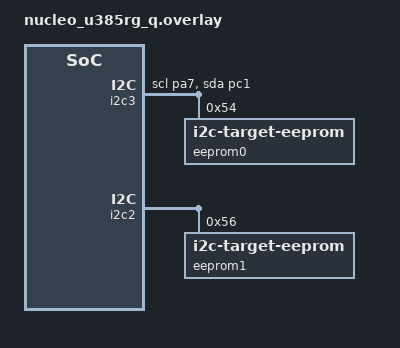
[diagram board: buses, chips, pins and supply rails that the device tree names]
/*
 * Copyright (c) 2025 STMicroelectronics
 * SPDX-License-Identifier: Apache-2.0
 */

/* I2C bus pins are exposed on the ST Arduino and Morpho header.
 *
 *  Bus        SDA                    SCL
 *          Pin   Hdr              Pin   Hdr
 *  i2c3    PC1   CN8:5            PA7   CN10:15
 *  i2c2    PB14  CN10:28          PB13  CN10:30
 *
 * Short Pin PB14 to PC1, and PB13 to PA7, for the test to pass.
 */

#define IC2_TEST_0_DMA_TX <&gpdma1 0 19 STM32_DMA_PERIPH_TX>
#define IC2_TEST_0_DMA_RX <&gpdma1 1 18 STM32_DMA_PERIPH_RX>

i2c_test_0: &i2c3 {
	pinctrl-0 = <&i2c3_scl_pa7 &i2c3_sda_pc1>;
	pinctrl-names = "default";
	scl-gpios = <&gpioa 7 GPIO_ACTIVE_HIGH>;
	sda-gpios = <&gpioc 1 GPIO_ACTIVE_HIGH>;
	dmas = IC2_TEST_0_DMA_TX, IC2_TEST_0_DMA_RX;
	dma-names = "tx", "rx";
	status = "okay";

	eeprom0: eeprom@54 {
		compatible = "zephyr,i2c-target-eeprom";
		reg = <0x54>;
		size = <256>;
	};
};

#define IC2_TEST_1_DMA_TX <&gpdma1 0 16 STM32_DMA_PERIPH_TX>
#define IC2_TEST_1_DMA_RX <&gpdma1 1 15 STM32_DMA_PERIPH_RX>

i2c_test_1: &i2c2 {
	dmas = IC2_TEST_1_DMA_TX, IC2_TEST_1_DMA_RX;
	dma-names = "tx", "rx";

	eeprom1: eeprom@56 {
		compatible = "zephyr,i2c-target-eeprom";
		reg = <0x56>;
		size = <256>;
	};
};

&spi1 {
	status = "disabled";
};

&gpdma1 {
	status = "okay";
};
